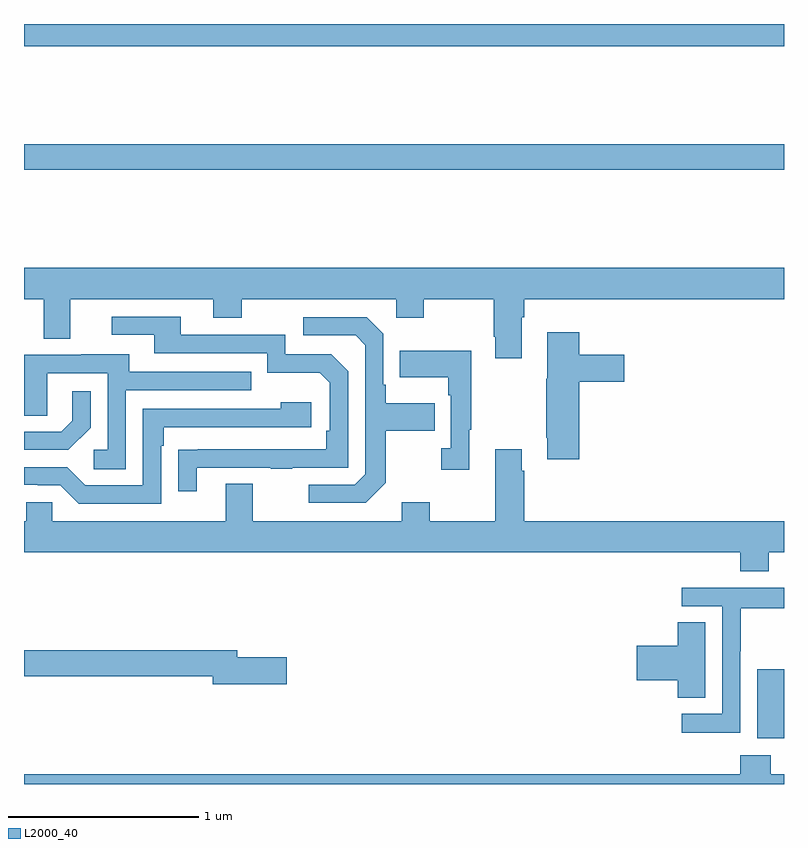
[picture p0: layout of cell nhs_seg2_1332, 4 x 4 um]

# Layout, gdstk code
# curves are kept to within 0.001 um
import gdstk
lib = gdstk.Library(unit=1e-6, precision=1e-09)
def R(c, l, rs):  # rectangles x0, y0, x1, y1
    for r in rs: c.add(gdstk.rectangle(r[:2], r[2:], *l))
def P(c, l, *ps):  # polygons
    for p in ps: c.add(gdstk.Polygon(p, *l))
L2000_40 = (2000, 40)

nhs_seg2_1332 = lib.new_cell('nhs_seg2_1332')
R(nhs_seg2_1332, L2000_40, [(184.859,596.042,185,596.403), (181,599.032,185,599.168), (181,599.684,185,599.8)])
P(nhs_seg2_1332, L2000_40, [(183.619,598.256),(183.632,598.256),(183.632,598.352),(185,598.352),(185,598.516),(181,598.516),(181,598.352),(181.103,598.352),(181.103,598.144),(181.243,598.144),(181.243,598.352),(181.997,598.352),(181.997,598.253),(182.145,598.253),(182.145,598.352),(182.958,598.352),(182.958,598.253),(183.105,598.253),(183.105,598.352),(183.472,598.352),(183.472,598.153),(183.479,598.153),(183.479,598.041),(183.619,598.041)],
  [(181.909,597.465),(182.299,597.465),(182.299,597.46),(182.411,597.46),(182.411,597.465),(182.706,597.465),(182.706,597.972),(182.616,598.062),(182.376,598.062),(182.376,598.164),(181.825,598.164),(181.825,598.26),(181.461,598.26),(181.461,598.164),(181.685,598.164),(181.685,598.068),(182.28,598.068),(182.28,597.965),(182.557,597.965),(182.61,597.912),(182.61,597.658),(182.59,597.658),(182.59,597.561),(181.813,597.56),(181.813,597.342),(181.909,597.342)],
  [(182.905,597.385),(182.905,597.658),(183.161,597.658),(183.161,597.805),(182.905,597.805),(182.905,597.901),(182.892,597.901),(182.892,598.17),(182.805,598.257),(182.469,598.257),(182.469,598.161),(182.745,598.161),(182.796,598.11),(182.796,597.429),(182.742,597.375),(182.499,597.375),(182.499,597.279),(182.799,597.279)],
  [(183.923,597.917),(184.159,597.917),(184.159,598.059),(183.923,598.059),(183.923,598.177),(183.755,598.177),(183.755,597.933),(183.748,597.933),(183.748,597.622),(183.755,597.622),(183.755,597.51),(183.923,597.51)],
  [(183.343,597.665),(183.355,597.665),(183.355,598.081),(182.977,598.081),(182.977,597.941),(183.234,597.941),(183.234,597.845),(183.246,597.845),(183.246,597.566),(183.195,597.566),(183.195,597.453),(183.343,597.453)],
  [(181.536,597.873),(182.195,597.873),(182.195,597.969),(181.555,597.969),(181.555,598.063),(181.301,598.063),(181.301,598.059),(181,598.059),(181,597.739),(181.122,597.739),(181.122,597.963),(181.44,597.963),(181.44,597.558),(181.368,597.558),(181.368,597.457),(181.536,597.457)],
  [(181.35,597.674),(181.35,597.868),(181.253,597.868),(181.253,597.711),(181.196,597.654),(181,597.654),(181,597.558),(181.234,597.558)],
  [(181.722,597.581),(181.735,597.581),(181.735,597.678),(182.512,597.678),(182.512,597.808),(182.351,597.808),(182.351,597.774),(181.626,597.774),(181.626,597.372),(181.323,597.372),(181.227,597.468),(181,597.468),(181,597.375),(181.073,597.375),(181.073,597.372),(181.191,597.372),(181.287,597.276),(181.722,597.276)],
  [(184.921,597.02),(185,597.02),(185,597.184),(183.632,597.184),(183.632,597.449),(183.619,597.449),(183.619,597.562),(183.479,597.562),(183.479,597.184),(183.135,597.184),(183.135,597.283),(182.987,597.283),(182.987,597.184),(182.203,597.184),(182.203,597.379),(182.063,597.379),(182.063,597.184),(181.149,597.184),(181.149,597.282),(181.011,597.282),(181.011,597.184),(181,597.184),(181,597.02),(184.769,597.02),(184.769,596.921),(184.921,596.921)],
  [(184.77,596.5),(184.773,596.5),(184.773,596.724),(185,596.724),(185,596.832),(184.461,596.832),(184.461,596.736),(184.674,596.736),(184.674,596.169),(184.461,596.169),(184.461,596.071),(184.77,596.071)],
  [(184.585,596.651),(184.442,596.651),(184.442,596.528),(184.224,596.528),(184.224,596.345),(184.442,596.345),(184.442,596.254),(184.585,596.254)],
  [(182.383,596.468),(182.122,596.468),(182.122,596.504),(181,596.504),(181,596.368),(181.994,596.368),(181.994,596.326),(182.383,596.326)],
  [(185,595.852),(184.929,595.852),(184.929,595.951),(184.769,595.951),(184.769,595.852),(181,595.852),(181,595.8),(185,595.8)])

lib.write_gds('nhs_seg2_1332.gds')
